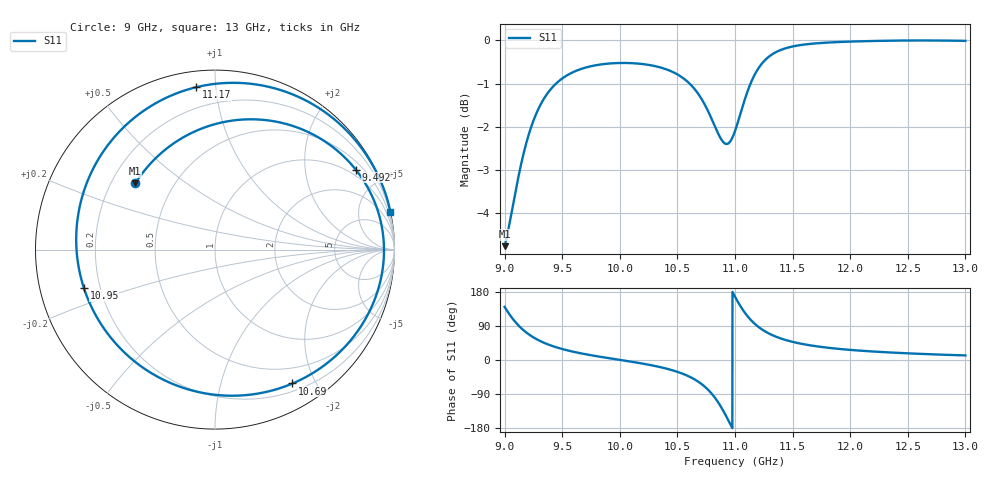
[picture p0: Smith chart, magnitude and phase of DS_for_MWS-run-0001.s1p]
! TOUCHSTONE file generated by CST DESIGN STUDIO
! Date and time: Tue Feb  4 18:41:32 2025
! Project name: C:\Work\MatlabApps\UnitCellOptimizationMatlab\CST\unitcell.cst
! Tree item: Tasks\Sweep1\SPara1\S-Parameters
! Header version: 2024
! Port assignment regex: !\s*Touchstone port\s*([0-9]+)\s*=\s*(CST MWS port|CST DES external port|CST DES block port)\s*(.+)\s* \(\"(.*)\"\)(\s*mode\s*([0-9]+))?.*
! Touchstone port assignment:
! Touchstone port 1 = CST DES external port 1 ("")
# GHz S MA R 50
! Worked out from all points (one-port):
!   4001 points, 9 GHz to 13 GHz, reference 50 ohm
!   lowest |S11| = -4.8 dB at 9 GHz (marker M1), VSWR 3.73, Z = 15 + j16.6 ohm
!   |S11| at or under -10 dB: nowhere
!   S11 on the Smith chart (normalised r, x): 9 GHz: 0.30, +0.33; 9.492 GHz: 0.76, +3.63; 10.69 GHz: 0.29, -1.70; 10.95 GHz: 0.14, -0.14; 11.17 GHz: 0.08, +0.89; 13 GHz: 0.05, +9.45
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9  0.5774 140.2
9.088  0.6607 102.1
9.173  0.7469 76.3
9.318  0.8454 48.8
9.492  0.9018 29.7
9.5  0.9034 29.0
9.714  0.931 14.6
10  0.9416 0.4
10.294  0.9345 -15.0
10.5  0.9133 -31.2
10.606  0.8911 -44.2
10.694  0.8619 -59.9
10.777  0.8222 -81.8
10.839  0.7876 -105.1
10.893  0.7638 -131.3
10.95  0.7612 -163.8
11  0.7851 167.0
11.037  0.8138 147.1
11.082  0.8518 126.2
11.122  0.8825 110.8
11.167  0.9106 96.7
11.238  0.9417 79.9
11.313  0.9617 67.2
11.5  0.984 47.8
11.706  0.9923 36.2
12  0.9969 26.7
12.5  0.9999 17.6
13  0.999 12.1
